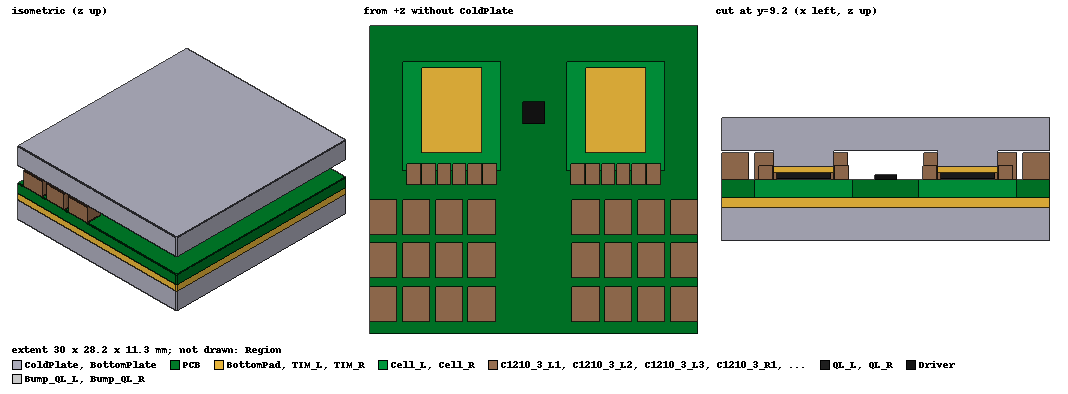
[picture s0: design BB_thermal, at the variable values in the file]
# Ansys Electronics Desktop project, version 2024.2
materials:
  air: permittivity=1.0006 permeability=1.0000004 thermal_conductivity=0.0261 mass_density=1.1614 specific_heat=1005 thermal_expansion_coefficient=0.00333 thermal_material_type=Fluid diffusivity=2.88e-05 molecular_mass=0.028966 viscosity=1.84e-05 material_refractive_index=1.000293
  PCB_eff: thermal_conductivity{anisotropic component1=55 component2=55 component3=0.36} mass_density=2100 specific_heat=1000
  PCB_cell: thermal_conductivity{anisotropic component1=55 component2=55 component3=3.5} mass_density=2300 specific_heat=900
  GaN_die: thermal_conductivity=108 mass_density=2330 specific_heat=700
  Bumps: thermal_conductivity=5.1 mass_density=7000 specific_heat=200
  TIM_pad: thermal_conductivity=17.8 mass_density=3000 specific_heat=900
  MLCC: thermal_conductivity=4 mass_density=5500 specific_heat=500
  Al-Extruded: thermal_conductivity=205 mass_density=2800 specific_heat=900 youngs_modulus=69000000000 poissons_ratio=0.33 thermal_expansion_coefficient=2.277e-06 thermal_material_type=Solid
  GapPad_bottom: thermal_conductivity=3 mass_density=3000 specific_heat=900
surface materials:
  Steel-oxidised-surface: surface_emissivity=0.8

design BB_thermal (Icepak, SteadyState TemperatureAndFlow, model units mm)
options: Default_Fluid_Material=air Default_Solid_Material=Al-Extruded Default_Surface_Material=Steel-oxidised-surface AmbientTemperature=60cel AmbientPressure=0n_per_meter_sq AmbientRadiationTemperature=60cel Gravity_Vector_CS_ID=Global Gravity_Vector_Axis=Z Positive=false Altitude=0meter OperatingPressure=101325n_per_meter_sq OperatingDensity=1.225kg_per_m3
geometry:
  Region [air] = region(percentage_offset=50 on all sides)
  PCB [PCB_eff] = box(corner=(-15mm, -13.4mm, 0mm), size=(30mm, 28.2mm, 1.6mm))
  Cell_L [PCB_cell] = box(corner=(-12mm, 1.5mm, 0mm), size=(9mm, 10mm, 1.6mm))
  Cell_R [PCB_cell] = box(corner=(3mm, 1.5mm, 0mm), size=(9mm, 10mm, 1.6mm))
  Cell_L_1 = Cell_L.copy()
  Cell_R_1 = Cell_R.copy()
  PCB.subtract(Cell_L_1, Cell_R_1)
  Bump_QH_L [Bumps] = box(corner=(-10mm, 3.4mm, 1.6mm), size=(5mm, 3mm, 0.1mm))
  QH_L [GaN_die] = box(corner=(-10mm, 3.4mm, 1.7mm), size=(5mm, 3mm, 0.55mm))
  Bump_QL_L [Bumps] = box(corner=(-10mm, 7.7mm, 1.6mm), size=(5mm, 3mm, 0.1mm))
  QL_L [GaN_die] = box(corner=(-10mm, 7.7mm, 1.7mm), size=(5mm, 3mm, 0.55mm))
  TIM_L [TIM_pad] = box(corner=(-10.25mm, 3.15mm, 2.25mm), size=(5.5mm, 7.8mm, 0.5mm))
  Pedestal_L = box(corner=(-10.25mm, 3.15mm, 2.75mm), size=(5.5mm, 7.8mm, 1.55mm))
  Bump_QH_R [Bumps] = box(corner=(5mm, 3.4mm, 1.6mm), size=(5mm, 3mm, 0.1mm))
  QH_R [GaN_die] = box(corner=(5mm, 3.4mm, 1.7mm), size=(5mm, 3mm, 0.55mm))
  Bump_QL_R [Bumps] = box(corner=(5mm, 7.7mm, 1.6mm), size=(5mm, 3mm, 0.1mm))
  QL_R [GaN_die] = box(corner=(5mm, 7.7mm, 1.7mm), size=(5mm, 3mm, 0.55mm))
  TIM_R [TIM_pad] = box(corner=(4.75mm, 3.15mm, 2.25mm), size=(5.5mm, 7.8mm, 0.5mm))
  Pedestal_R = box(corner=(4.75mm, 3.15mm, 2.75mm), size=(5.5mm, 7.8mm, 1.55mm))
  ColdPlate [Al-Extruded] = box(corner=(-15mm, -13.4mm, 4.3mm), size=(30mm, 28.2mm, 3mm))
  BottomPad [GapPad_bottom] = box(corner=(-15mm, -13.4mm, -1mm), size=(30mm, 28.2mm, 1mm))
  BottomPlate [Al-Extruded] = box(corner=(-15mm, -13.4mm, -4mm), size=(30mm, 28.2mm, 3mm))
  ColdPlate.unite(Pedestal_L, Pedestal_R)
  C0805_L0 [MLCC] = box(corner=(-11.625mm, 0.2mm, 1.6mm), size=(1.25mm, 2mm, 1.25mm))
  C0805_L1 [MLCC] = box(corner=(-10.225mm, 0.2mm, 1.6mm), size=(1.25mm, 2mm, 1.25mm))
  C0805_L2 [MLCC] = box(corner=(-8.825mm, 0.2mm, 1.6mm), size=(1.25mm, 2mm, 1.25mm))
  C0805_L3 [MLCC] = box(corner=(-7.425mm, 0.2mm, 1.6mm), size=(1.25mm, 2mm, 1.25mm))
  C0805_L4 [MLCC] = box(corner=(-6.025mm, 0.2mm, 1.6mm), size=(1.25mm, 2mm, 1.25mm))
  C0805_L5 [MLCC] = box(corner=(-4.625mm, 0.2mm, 1.6mm), size=(1.25mm, 2mm, 1.25mm))
  C0805_R0 [MLCC] = box(corner=(3.375mm, 0.2mm, 1.6mm), size=(1.25mm, 2mm, 1.25mm))
  C0805_R1 [MLCC] = box(corner=(4.775mm, 0.2mm, 1.6mm), size=(1.25mm, 2mm, 1.25mm))
  C0805_R2 [MLCC] = box(corner=(6.175mm, 0.2mm, 1.6mm), size=(1.25mm, 2mm, 1.25mm))
  C0805_R3 [MLCC] = box(corner=(7.575mm, 0.2mm, 1.6mm), size=(1.25mm, 2mm, 1.25mm))
  C0805_R4 [MLCC] = box(corner=(8.975mm, 0.2mm, 1.6mm), size=(1.25mm, 2mm, 1.25mm))
  C0805_R5 [MLCC] = box(corner=(10.375mm, 0.2mm, 1.6mm), size=(1.25mm, 2mm, 1.25mm))
  C1210_1_L0 [MLCC] = box(corner=(-6mm, -12.3mm, 1.6mm), size=(2.5mm, 3.2mm, 2.5mm))
  C1210_1_L1 [MLCC] = box(corner=(-9mm, -12.3mm, 1.6mm), size=(2.5mm, 3.2mm, 2.5mm))
  C1210_1_L2 [MLCC] = box(corner=(-12mm, -12.3mm, 1.6mm), size=(2.5mm, 3.2mm, 2.5mm))
  C1210_1_L3 [MLCC] = box(corner=(-15mm, -12.3mm, 1.6mm), size=(2.5mm, 3.2mm, 2.5mm))
  C1210_1_R0 [MLCC] = box(corner=(3.5mm, -12.3mm, 1.6mm), size=(2.5mm, 3.2mm, 2.5mm))
  C1210_1_R1 [MLCC] = box(corner=(6.5mm, -12.3mm, 1.6mm), size=(2.5mm, 3.2mm, 2.5mm))
  C1210_1_R2 [MLCC] = box(corner=(9.5mm, -12.3mm, 1.6mm), size=(2.5mm, 3.2mm, 2.5mm))
  C1210_1_R3 [MLCC] = box(corner=(12.5mm, -12.3mm, 1.6mm), size=(2.5mm, 3.2mm, 2.5mm))
  C1210_2_L0 [MLCC] = box(corner=(-6mm, -8.3mm, 1.6mm), size=(2.5mm, 3.2mm, 2.5mm))
  C1210_2_L1 [MLCC] = box(corner=(-9mm, -8.3mm, 1.6mm), size=(2.5mm, 3.2mm, 2.5mm))
  C1210_2_L2 [MLCC] = box(corner=(-12mm, -8.3mm, 1.6mm), size=(2.5mm, 3.2mm, 2.5mm))
  C1210_2_L3 [MLCC] = box(corner=(-15mm, -8.3mm, 1.6mm), size=(2.5mm, 3.2mm, 2.5mm))
  C1210_2_R0 [MLCC] = box(corner=(3.5mm, -8.3mm, 1.6mm), size=(2.5mm, 3.2mm, 2.5mm))
  C1210_2_R1 [MLCC] = box(corner=(6.5mm, -8.3mm, 1.6mm), size=(2.5mm, 3.2mm, 2.5mm))
  C1210_2_R2 [MLCC] = box(corner=(9.5mm, -8.3mm, 1.6mm), size=(2.5mm, 3.2mm, 2.5mm))
  C1210_2_R3 [MLCC] = box(corner=(12.5mm, -8.3mm, 1.6mm), size=(2.5mm, 3.2mm, 2.5mm))
  C1210_3_L0 [MLCC] = box(corner=(-6mm, -4.3mm, 1.6mm), size=(2.5mm, 3.2mm, 2.5mm))
  C1210_3_L1 [MLCC] = box(corner=(-9mm, -4.3mm, 1.6mm), size=(2.5mm, 3.2mm, 2.5mm))
  C1210_3_L2 [MLCC] = box(corner=(-12mm, -4.3mm, 1.6mm), size=(2.5mm, 3.2mm, 2.5mm))
  C1210_3_L3 [MLCC] = box(corner=(-15mm, -4.3mm, 1.6mm), size=(2.5mm, 3.2mm, 2.5mm))
  C1210_3_R0 [MLCC] = box(corner=(3.5mm, -4.3mm, 1.6mm), size=(2.5mm, 3.2mm, 2.5mm))
  C1210_3_R1 [MLCC] = box(corner=(6.5mm, -4.3mm, 1.6mm), size=(2.5mm, 3.2mm, 2.5mm))
  C1210_3_R2 [MLCC] = box(corner=(9.5mm, -4.3mm, 1.6mm), size=(2.5mm, 3.2mm, 2.5mm))
  C1210_3_R3 [MLCC] = box(corner=(12.5mm, -4.3mm, 1.6mm), size=(2.5mm, 3.2mm, 2.5mm))
  Driver [GaN_die] = box(corner=(-1mm, 5.8mm, 1.6mm), size=(2mm, 2mm, 0.5mm))
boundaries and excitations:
  P_QH_L: Block Objects=QH_L Block_Type=Solid Use_Total_Power Total_Power=1.9143W
  P_QL_L: Block Objects=QL_L Block_Type=Solid Use_Total_Power Total_Power=1.9143W
  P_QH_R: Block Objects=QH_R Block_Type=Solid Use_Total_Power Total_Power=1.9143W
  P_QL_R: Block Objects=QL_R Block_Type=Solid Use_Total_Power Total_Power=1.9143W
  P_cells: Block Objects=[Cell_L, Cell_R] Block_Type=Solid Use_Total_Power Total_Power=2W
  P_pcb: Block Objects=PCB Block_Type=Solid Use_Total_Power Total_Power=2.3704W
  P_row2: Block Objects=[C1210_2_L0..C1210_2_L3, C1210_2_R0..C1210_2_R3] Block_Type=Solid Use_Total_Power Total_Power=0.0999289W
  P_row3: Block Objects=[C1210_3_L0..C1210_3_L3, C1210_3_R0..C1210_3_R3] Block_Type=Solid Use_Total_Power Total_Power=0.106031W
  P_local_R: Block Objects=[C0805_R0..C0805_R5] Block_Type=Solid Use_Total_Power Total_Power=0.0452859W
  P_local_L: Block Objects=[C0805_L0..C0805_L5] Block_Type=Solid Use_Total_Power Total_Power=0.0452841W
  P_row1: Block Objects=[C1210_1_L0..C1210_1_L3, C1210_1_R0..C1210_1_R3] Block_Type=Solid Use_Total_Power Total_Power=0.0920971W
  P_driver: Block Objects=Driver Block_Type=Solid Use_Total_Power Total_Power=0.0777W
  ColdPlate60: Stationary Wall Faces=ColdPlate.face(+z) Thickness=0mm Solid_Material=Al-Extruded External_Condition=Temperature Heat_Flux=0irrad_W_per_m2 Temperature=60cel Heat_Transfer_Coefficient=0w_per_m2kel Reference_Temperature=AmbientTemp Heat_Transfer_Data{Heat_Transfer_Convection_Type="Forced Convection"} External_Material=Steel-oxidised-surface External_Radiation_Reference_Temperature=AmbientTemp External_Radiation_View_Factor=1
  BottomPlate60: Stationary Wall Faces=BottomPlate.face(-z) Thickness=0mm Solid_Material=Al-Extruded External_Condition=Temperature Heat_Flux=0irrad_W_per_m2 Temperature=60cel Heat_Transfer_Coefficient=0w_per_m2kel Reference_Temperature=AmbientTemp Heat_Transfer_Data{Heat_Transfer_Convection_Type="Forced Convection"} External_Material=Steel-oxidised-surface External_Radiation_Reference_Temperature=AmbientTemp External_Radiation_View_Factor=1
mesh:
  Global:  MeshMethod=MesherHD ComputeGap MeshRegionResolution=3 MinGapX=1mm MinGapY=1mm MinGapZ=1mm Objects=Region FacetLevel=3 ProximitySizeFunction CurvatureSizeFunction OptimizePCBMesh
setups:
  Setup1: IcepakSteadyState Flow_Regime=Laminar Include_Temperature=true Include_Flow=false Convergence_Criteria_-_Flow=0.001 Convergence_Criteria_-_Energy=1e-07 GPU_Convergence_Criteria_-_Flow=0.001 GPU_Convergence_Criteria_-_Energy=1e-05 disabled Radiation_Model=Off Under-relaxation_-_Pressure=0.3 Under-relaxation_-_Momentum=0.7 Under-relaxation_-_Temperature=1 Discretization_Scheme_-_Pressure=Standard Discretization_Scheme_-_Momentum=First Discretization_Scheme_-_Temperature=First Convergence_Criteria_-_Max_Iterations=300
